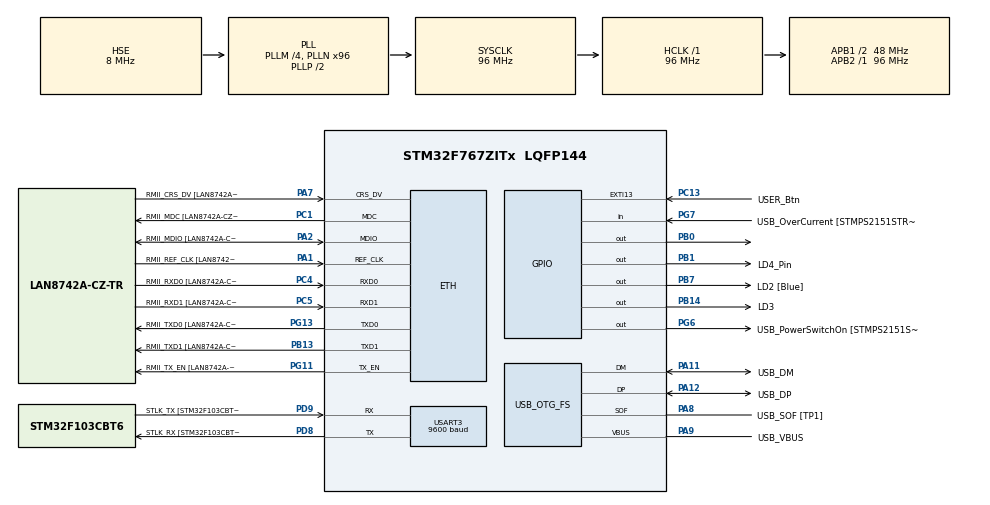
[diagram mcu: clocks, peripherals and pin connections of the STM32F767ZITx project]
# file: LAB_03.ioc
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ETH.MediaInterface=HAL_ETH_RMII_MODE
ETH.PHY_Name=LAN8742A_PHY_ADDRESS
ETH.PHY_Value=0
ETH.PhyAddress=0
Mcu.Family=STM32F7
Mcu.Name=STM32F767ZITx
Mcu.Package=LQFP144
NVIC.EXTI15_10_IRQn=true\:0\:0\:false\:false\:true\:true\:true\:true
NVIC.PriorityGroup=NVIC_PRIORITYGROUP_4
NVIC.TIM2_IRQn=true\:0\:0\:false\:false\:true\:true\:true\:true
NVIC.TIM3_IRQn=true\:0\:0\:false\:false\:true\:true\:true\:true
NVIC.USART3_IRQn=true\:0\:0\:false\:false\:true\:true\:true\:true
PA1.GPIO_Label=RMII_REF_CLK [LAN8742A-CZ-TR_REFCLK0]
PA1.Mode=RMII
PA1.Signal=ETH_REF_CLK
PA10.GPIO_Label=USB_ID
PA10.Signal=USB_OTG_FS_ID
PA11.GPIO_Label=USB_DM
PA11.Mode=Device_Only
PA11.Signal=USB_OTG_FS_DM
PA12.GPIO_Label=USB_DP
PA12.Mode=Device_Only
PA12.Signal=USB_OTG_FS_DP
PA13.GPIO_Label=TMS
PA13.Mode=Serial_Wire
PA13.Signal=SYS_JTMS-SWDIO
PA14.GPIO_Label=TCK
PA14.Mode=Serial_Wire
PA14.Signal=SYS_JTCK-SWCLK
PA2.GPIO_Label=RMII_MDIO [LAN8742A-CZ-TR_MDIO]
PA2.Mode=RMII
PA2.Signal=ETH_MDIO
PA7.GPIO_Label=RMII_CRS_DV [LAN8742A-CZ-TR_CRS_DV]
PA7.Mode=RMII
PA7.Signal=ETH_CRS_DV
PA8.GPIO_Label=USB_SOF [TP1]
PA8.Mode=Activate_SOF_FS
PA8.Signal=USB_OTG_FS_SOF
PA9.GPIO_Label=USB_VBUS
PA9.Mode=Activate_VBUS
PA9.Signal=USB_OTG_FS_VBUS
PB0.Signal=GPIO_Output
PB1.GPIO_Label=LD4_Pin
PB1.Signal=GPIO_Output
PB13.GPIO_Label=RMII_TXD1 [LAN8742A-CZ-TR_TXD1]
PB13.Mode=RMII
PB13.Signal=ETH_TXD1
PB14.GPIO_Label=LD3
PB14.Signal=GPIO_Output
PB3.GPIO_Label=SWO
PB3.Signal=SYS_JTDO-SWO
PB7.GPIO_Label=LD2 [Blue]
PB7.Signal=GPIO_Output
PC1.GPIO_Label=RMII_MDC [LAN8742A-CZ-TR_MDC]
PC1.Mode=RMII
PC1.Signal=ETH_MDC
PC13.GPIO_Label=USER_Btn
PC13.Signal=GPXTI13
PC14/OSC32_IN.Mode=LSE-External-Oscillator
PC14/OSC32_IN.Signal=RCC_OSC32_IN
PC15/OSC32_OUT.Mode=LSE-External-Oscillator
PC15/OSC32_OUT.Signal=RCC_OSC32_OUT
PC4.GPIO_Label=RMII_RXD0 [LAN8742A-CZ-TR_RXD0]
PC4.Mode=RMII
PC4.Signal=ETH_RXD0
PC5.GPIO_Label=RMII_RXD1 [LAN8742A-CZ-TR_RXD1]
PC5.Mode=RMII
PC5.Signal=ETH_RXD1
PD8.GPIO_Label=STLK_RX [STM32F103CBT6_PA3]
PD8.Mode=Asynchronous
PD8.Signal=USART3_TX
PD9.GPIO_Label=STLK_TX [STM32F103CBT6_PA2]
PD9.Mode=Asynchronous
PD9.Signal=USART3_RX
PG11.GPIO_Label=RMII_TX_EN [LAN8742A-CZ-TR_TXEN]
PG11.Mode=RMII
PG11.Signal=ETH_TX_EN
PG13.GPIO_Label=RMII_TXD0 [LAN8742A-CZ-TR_TXD0]
PG13.Mode=RMII
PG13.Signal=ETH_TXD0
PG6.GPIO_Label=USB_PowerSwitchOn [STMPS2151STR_EN]
PG6.Signal=GPIO_Output
PG7.GPIO_Label=USB_OverCurrent [STMPS2151STR_FAULT]
PG7.Signal=GPIO_Input
PH0/OSC_IN.GPIO_Label=MCO [STM32F103CBT6_PA8]
PH0/OSC_IN.Mode=HSE-External-Clock-Source
PH0/OSC_IN.Signal=RCC_OSC_IN
PH1/OSC_OUT.Mode=HSE-External-Clock-Source
PH1/OSC_OUT.Signal=RCC_OSC_OUT
ProjectManager.HeapSize=0x200
ProjectManager.StackSize=0x400
ProjectManager.TargetToolchain=STM32CubeIDE
RCC.48MHZClocksFreq_Value=24000000
RCC.AHBFreq_Value=96000000
RCC.APB1CLKDivider=RCC_HCLK_DIV2
RCC.APB1Freq_Value=48000000
RCC.APB1TimFreq_Value=96000000
RCC.APB2Freq_Value=96000000
RCC.APB2TimFreq_Value=96000000
RCC.CortexFreq_Value=96000000
RCC.HCLKFreq_Value=96000000
RCC.HSE_VALUE=8000000
RCC.HSI_VALUE=16000000
RCC.PLLM=4
RCC.PLLMUL=RCC_PLL_MUL9
RCC.PLLN=96
RCC.PLLQ=4
RCC.PRESCALERUSB=RCC_USBCLKSOURCE_PLL_DIV1_5
RCC.SYSCLKFreq_VALUE=96000000
RCC.SYSCLKSource=RCC_SYSCLKSOURCE_PLLCLK
RCC.SYSCLKSourceVirtual=RCC_SYSCLKSOURCE_PLLCLK
RCC.USBFreq_Value=48000000
RCC.VCOOutputFreq_Value=192000000
TIM2.Period=999
TIM2.Prescaler=95
TIM3.Period=1999
TIM3.Prescaler=9599
USART3.BaudRate=9600
USART3.VirtualMode-Asynchronous=VM_ASYNC
USB_OTG_FS.VirtualMode=Device_Only
VP_TIM2_VS_ClockSourceINT.Mode=Internal
VP_TIM3_VS_ClockSourceINT.Mode=Internal
board=NUCLEO-F767ZI

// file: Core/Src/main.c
/* USER CODE BEGIN Header */
/**
 ******************************************************************************
 * @file           : main.c
 * @brief          : Main program body
 ******************************************************************************
 * @attention
 *
 * Copyright (c) 2025 STMicroelectronics.
 * All rights reserved.
 *
 * This software is licensed under terms that can be found in the LICENSE file
 * in the root directory of this software component.
 * If no LICENSE file comes with this software, it is provided AS-IS.
 *
 ******************************************************************************
 */
/* USER CODE END Header */
#include "main.h"
#include "string.h"

/* USER CODE BEGIN Includes */

#include <stdio.h>

/* USER CODE END Includes */

#if defined ( __ICCARM__ ) /*!< IAR Compiler */
#pragma location=0x2007c000
ETH_DMADescTypeDef  DMARxDscrTab[ETH_RX_DESC_CNT]; /* Ethernet Rx DMA Descriptors */
#pragma location=0x2007c0a0
ETH_DMADescTypeDef  DMATxDscrTab[ETH_TX_DESC_CNT]; /* Ethernet Tx DMA Descriptors */

#elif defined ( __CC_ARM )  /* MDK ARM Compiler */

__attribute__((at(0x2007c000))) ETH_DMADescTypeDef  DMARxDscrTab[ETH_RX_DESC_CNT]; /* Ethernet Rx DMA Descriptors */
__attribute__((at(0x2007c0a0))) ETH_DMADescTypeDef  DMATxDscrTab[ETH_TX_DESC_CNT]; /* Ethernet Tx DMA Descriptors */

#elif defined ( __GNUC__ ) /* GNU Compiler */

ETH_DMADescTypeDef DMARxDscrTab[ETH_RX_DESC_CNT] __attribute__((section(".RxDecripSection"))); /* Ethernet Rx DMA Descriptors */
ETH_DMADescTypeDef DMATxDscrTab[ETH_TX_DESC_CNT] __attribute__((section(".TxDecripSection"))); /* Ethernet Tx DMA Descriptors */
#endif

ETH_TxPacketConfig TxConfig;

ETH_HandleTypeDef heth;

TIM_HandleTypeDef htim2;
TIM_HandleTypeDef htim3;

UART_HandleTypeDef huart3;

PCD_HandleTypeDef hpcd_USB_OTG_FS;

void SystemClock_Config(void);
static void MX_GPIO_Init(void);
static void MX_ETH_Init(void);
static void MX_USART3_UART_Init(void);
static void MX_USB_OTG_FS_PCD_Init(void);
static void MX_TIM3_Init(void);
static void MX_TIM2_Init(void);
/* USER CODE BEGIN PFP */
//void SetPWM(TIM_HandleTypeDef *htim, uint32_t channel, float duty);
/* USER CODE END PFP */

/* USER CODE BEGIN 0 */

uint32_t last_button_time = 0;
const uint32_t DEBOUNCE_TIME_MS = 200;

_Bool pulse_active = 0;

GPIO_PinState LD1_State;

uint32_t current_period_ms = 400;
uint32_t current_period_us;

uint32_t pulse_duration_ms = 200;
uint32_t pulse_arr_value;

void HAL_GPIO_EXTI_Callback(uint16_t GPIO_Pin) {
	if (GPIO_Pin == USER_Btn_Pin) {
		uint32_t now = HAL_GetTick();
		if (now - last_button_time < DEBOUNCE_TIME_MS)
			return;
		last_button_time = now;

		HAL_TIM_Base_Stop_IT(&htim2);

		__HAL_TIM_SET_COUNTER(&htim2, 0);
		__HAL_TIM_SET_AUTORELOAD(&htim2, current_period_us - 1);

		HAL_TIM_Base_Start_IT(&htim2);
	}
}

void HAL_TIM_PeriodElapsedCallback(TIM_HandleTypeDef *htim) {
	if (htim->Instance == TIM2) {
		HAL_TIM_Base_Stop_IT(&htim2);

		HAL_GPIO_WritePin(GPIOB, LD2_Pin, GPIO_PIN_SET);
		pulse_active = 1;

		__HAL_TIM_SET_COUNTER(&htim3, 0);
		__HAL_TIM_SET_AUTORELOAD(&htim3, pulse_arr_value);
		HAL_TIM_Base_Start_IT(&htim3);
	}

	if (htim->Instance == TIM3 && pulse_active) {
		HAL_TIM_Base_Stop_IT(&htim3);
		HAL_GPIO_WritePin(GPIOB, LD2_Pin, GPIO_PIN_RESET);
		pulse_active = 0;
	}
}

uint8_t rxBuffer[50];
char txBuffer[50];

const uint32_t MIN_PERIOD_US = 200000;      // 200 ms
const uint32_t MAX_PERIOD_US = 2000000;     // 2 s
const uint32_t STEP_PERIOD_US = 200000;     // 0,2 s

void HAL_UART_RxCpltCallback(UART_HandleTypeDef *huart) {
	if (huart->Instance == USART3) {
		if (rxBuffer[0] == '+') {
			if (current_period_us + STEP_PERIOD_US <= MAX_PERIOD_US)
				current_period_us += STEP_PERIOD_US;
		} else if (rxBuffer[0] == '-') {
			if (current_period_us >= MIN_PERIOD_US + STEP_PERIOD_US)
				current_period_us -= STEP_PERIOD_US;
		}

		uint32_t period_ms = current_period_us / 1000;
		GPIO_PinState led_state = HAL_GPIO_ReadPin(GPIOB, LD2_Pin);

		sprintf(txBuffer, "Okres: %lu ms\r\n", period_ms);

		HAL_UART_Transmit(&huart3, (uint8_t*) txBuffer, strlen(txBuffer), HAL_MAX_DELAY);
		HAL_UART_Receive_IT(&huart3, rxBuffer, 1);
	}
}

void zad1() {
	if (__HAL_TIM_GET_FLAG(&htim2, TIM_FLAG_UPDATE) != RESET) {
		__HAL_TIM_CLEAR_FLAG(&htim2, TIM_FLAG_UPDATE);

		LD1_State = !LD1_State;
		HAL_GPIO_TogglePin(GPIOB, LD2_Pin);
	}
}

/* USER CODE END 0 */

int main(void) {

	/* USER CODE BEGIN 1 */

	current_period_us = current_period_ms * 1000;
	pulse_arr_value = (pulse_duration_ms * 10) - 1;

	/* USER CODE END 1 */

	/* MCU Configuration--------------------------------------------------------*/

	/* Reset of all peripherals, Initializes the Flash interface and the Systick. */
	HAL_Init();

	/* Configure the system clock */
	SystemClock_Config();

	/* Initialize all configured peripherals */
	MX_GPIO_Init();
	MX_ETH_Init();
	MX_USART3_UART_Init();
	MX_USB_OTG_FS_PCD_Init();
	MX_TIM3_Init();
	MX_TIM2_Init();
	/* USER CODE BEGIN 2 */

//	HAL_TIM_Base_Start(&htim2); // zad1
	HAL_TIM_Base_Start_IT(&htim2);
//	HAL_TIM_Base_Start_IT(&htim3);
	HAL_UART_Receive_IT(&huart3, rxBuffer, 1);

	/* USER CODE END 2 */

	/* Infinite loop */
	/* USER CODE BEGIN WHILE */
	while (1) {

//		zad1();

		/* USER CODE END WHILE */

		/* USER CODE BEGIN 3 */
//		HAL_Delay(10);
	}
	/* USER CODE END 3 */
}

void SystemClock_Config(void) {
	RCC_OscInitTypeDef RCC_OscInitStruct = { 0 };
	RCC_ClkInitTypeDef RCC_ClkInitStruct = { 0 };

	/** Configure LSE Drive Capability
	 */
	HAL_PWR_EnableBkUpAccess();

	/** Configure the main internal regulator output voltage
	 */
	__HAL_RCC_PWR_CLK_ENABLE();
	__HAL_PWR_VOLTAGESCALING_CONFIG(PWR_REGULATOR_VOLTAGE_SCALE3);

	/** Initializes the RCC Oscillators according to the specified parameters
	 * in the RCC_OscInitTypeDef structure.
	 */
	RCC_OscInitStruct.OscillatorType = RCC_OSCILLATORTYPE_HSE;
	RCC_OscInitStruct.HSEState = RCC_HSE_BYPASS;
	RCC_OscInitStruct.PLL.PLLState = RCC_PLL_ON;
	RCC_OscInitStruct.PLL.PLLSource = RCC_PLLSOURCE_HSE;
	RCC_OscInitStruct.PLL.PLLM = 4;
	RCC_OscInitStruct.PLL.PLLN = 96;
	RCC_OscInitStruct.PLL.PLLP = RCC_PLLP_DIV2;
	RCC_OscInitStruct.PLL.PLLQ = 4;
	RCC_OscInitStruct.PLL.PLLR = 2;
	if (HAL_RCC_OscConfig(&RCC_OscInitStruct) != HAL_OK) {
		Error_Handler();
	}

	/** Activate the Over-Drive mode
	 */
	if (HAL_PWREx_EnableOverDrive() != HAL_OK) {
		Error_Handler();
	}

	/** Initializes the CPU, AHB and APB buses clocks
	 */
	RCC_ClkInitStruct.ClockType = RCC_CLOCKTYPE_HCLK | RCC_CLOCKTYPE_SYSCLK | RCC_CLOCKTYPE_PCLK1 | RCC_CLOCKTYPE_PCLK2;
	RCC_ClkInitStruct.SYSCLKSource = RCC_SYSCLKSOURCE_PLLCLK;
	RCC_ClkInitStruct.AHBCLKDivider = RCC_SYSCLK_DIV1;
	RCC_ClkInitStruct.APB1CLKDivider = RCC_HCLK_DIV2;
	RCC_ClkInitStruct.APB2CLKDivider = RCC_HCLK_DIV1;

	if (HAL_RCC_ClockConfig(&RCC_ClkInitStruct, FLASH_LATENCY_3) != HAL_OK) {
		Error_Handler();
	}
}

static void MX_ETH_Init(void) {

	static uint8_t MACAddr[6];

	heth.Instance = ETH;
	MACAddr[0] = 0x00;
	MACAddr[1] = 0x80;
	MACAddr[2] = 0xE1;
	MACAddr[3] = 0x00;
	MACAddr[4] = 0x00;
	MACAddr[5] = 0x00;
	heth.Init.MACAddr = &MACAddr[0];
	heth.Init.MediaInterface = HAL_ETH_RMII_MODE;
	heth.Init.TxDesc = DMATxDscrTab;
	heth.Init.RxDesc = DMARxDscrTab;
	heth.Init.RxBuffLen = 1524;

	if (HAL_ETH_Init(&heth) != HAL_OK) {
		Error_Handler();
	}

	memset(&TxConfig, 0, sizeof(ETH_TxPacketConfig));
	TxConfig.Attributes = ETH_TX_PACKETS_FEATURES_CSUM | ETH_TX_PACKETS_FEATURES_CRCPAD;
	TxConfig.ChecksumCtrl = ETH_CHECKSUM_IPHDR_PAYLOAD_INSERT_PHDR_CALC;
	TxConfig.CRCPadCtrl = ETH_CRC_PAD_INSERT;

}

static void MX_TIM2_Init(void) {

	TIM_ClockConfigTypeDef sClockSourceConfig = { 0 };
	TIM_MasterConfigTypeDef sMasterConfig = { 0 };

	htim2.Instance = TIM2;
	htim2.Init.Prescaler = 95;
	htim2.Init.CounterMode = TIM_COUNTERMODE_UP;
	htim2.Init.Period = 999;
	htim2.Init.ClockDivision = TIM_CLOCKDIVISION_DIV1;
	htim2.Init.AutoReloadPreload = TIM_AUTORELOAD_PRELOAD_DISABLE;
	if (HAL_TIM_Base_Init(&htim2) != HAL_OK) {
		Error_Handler();
	}
	sClockSourceConfig.ClockSource = TIM_CLOCKSOURCE_INTERNAL;
	if (HAL_TIM_ConfigClockSource(&htim2, &sClockSourceConfig) != HAL_OK) {
		Error_Handler();
	}
	sMasterConfig.MasterOutputTrigger = TIM_TRGO_RESET;
	sMasterConfig.MasterSlaveMode = TIM_MASTERSLAVEMODE_DISABLE;
	if (HAL_TIMEx_MasterConfigSynchronization(&htim2, &sMasterConfig) != HAL_OK) {
		Error_Handler();
	}

}

static void MX_TIM3_Init(void) {

	TIM_ClockConfigTypeDef sClockSourceConfig = { 0 };
	TIM_MasterConfigTypeDef sMasterConfig = { 0 };

	htim3.Instance = TIM3;
	htim3.Init.Prescaler = 9599;
	htim3.Init.CounterMode = TIM_COUNTERMODE_UP;
	htim3.Init.Period = 1999;
	htim3.Init.ClockDivision = TIM_CLOCKDIVISION_DIV1;
	htim3.Init.AutoReloadPreload = TIM_AUTORELOAD_PRELOAD_DISABLE;
	if (HAL_TIM_Base_Init(&htim3) != HAL_OK) {
		Error_Handler();
	}
	sClockSourceConfig.ClockSource = TIM_CLOCKSOURCE_INTERNAL;
	if (HAL_TIM_ConfigClockSource(&htim3, &sClockSourceConfig) != HAL_OK) {
		Error_Handler();
	}
	sMasterConfig.MasterOutputTrigger = TIM_TRGO_RESET;
	sMasterConfig.MasterSlaveMode = TIM_MASTERSLAVEMODE_DISABLE;
	if (HAL_TIMEx_MasterConfigSynchronization(&htim3, &sMasterConfig) != HAL_OK) {
		Error_Handler();
	}

}

static void MX_USART3_UART_Init(void) {

	huart3.Instance = USART3;
	huart3.Init.BaudRate = 9600;
	huart3.Init.WordLength = UART_WORDLENGTH_8B;
	huart3.Init.StopBits = UART_STOPBITS_1;
	huart3.Init.Parity = UART_PARITY_NONE;
	huart3.Init.Mode = UART_MODE_TX_RX;
	huart3.Init.HwFlowCtl = UART_HWCONTROL_NONE;
	huart3.Init.OverSampling = UART_OVERSAMPLING_16;
	huart3.Init.OneBitSampling = UART_ONE_BIT_SAMPLE_DISABLE;
	huart3.AdvancedInit.AdvFeatureInit = UART_ADVFEATURE_NO_INIT;
	if (HAL_UART_Init(&huart3) != HAL_OK) {
		Error_Handler();
	}

}

static void MX_USB_OTG_FS_PCD_Init(void) {

	hpcd_USB_OTG_FS.Instance = USB_OTG_FS;
	hpcd_USB_OTG_FS.Init.dev_endpoints = 6;
	hpcd_USB_OTG_FS.Init.speed = PCD_SPEED_FULL;
	hpcd_USB_OTG_FS.Init.dma_enable = DISABLE;
	hpcd_USB_OTG_FS.Init.phy_itface = PCD_PHY_EMBEDDED;
	hpcd_USB_OTG_FS.Init.Sof_enable = ENABLE;
	hpcd_USB_OTG_FS.Init.low_power_enable = DISABLE;
	hpcd_USB_OTG_FS.Init.lpm_enable = DISABLE;
	hpcd_USB_OTG_FS.Init.vbus_sensing_enable = ENABLE;
	hpcd_USB_OTG_FS.Init.use_dedicated_ep1 = DISABLE;
	if (HAL_PCD_Init(&hpcd_USB_OTG_FS) != HAL_OK) {
		Error_Handler();
	}

}

static void MX_GPIO_Init(void) {
	GPIO_InitTypeDef GPIO_InitStruct = { 0 };

	/* GPIO Ports Clock Enable */
	__HAL_RCC_GPIOC_CLK_ENABLE();
	__HAL_RCC_GPIOH_CLK_ENABLE();
	__HAL_RCC_GPIOA_CLK_ENABLE();
	__HAL_RCC_GPIOB_CLK_ENABLE();
	__HAL_RCC_GPIOD_CLK_ENABLE();
	__HAL_RCC_GPIOG_CLK_ENABLE();

	/*Configure GPIO pin Output Level */
	HAL_GPIO_WritePin(GPIOB, GPIO_PIN_0 | LD4_Pin_Pin | LD3_Pin | LD2_Pin, GPIO_PIN_RESET);

	/*Configure GPIO pin Output Level */
	HAL_GPIO_WritePin(USB_PowerSwitchOn_GPIO_Port, USB_PowerSwitchOn_Pin, GPIO_PIN_RESET);

	/*Configure GPIO pin : USER_Btn_Pin */
	GPIO_InitStruct.Pin = USER_Btn_Pin;
	GPIO_InitStruct.Mode = GPIO_MODE_IT_RISING;
	GPIO_InitStruct.Pull = GPIO_NOPULL;
	HAL_GPIO_Init(USER_Btn_GPIO_Port, &GPIO_InitStruct);

	/*Configure GPIO pins : PB0 LD4_Pin_Pin LD3_Pin LD2_Pin */
	GPIO_InitStruct.Pin = GPIO_PIN_0 | LD4_Pin_Pin | LD3_Pin | LD2_Pin;
	GPIO_InitStruct.Mode = GPIO_MODE_OUTPUT_PP;
	GPIO_InitStruct.Pull = GPIO_NOPULL;
	GPIO_InitStruct.Speed = GPIO_SPEED_FREQ_LOW;
	HAL_GPIO_Init(GPIOB, &GPIO_InitStruct);

	/*Configure GPIO pin : USB_PowerSwitchOn_Pin */
	GPIO_InitStruct.Pin = USB_PowerSwitchOn_Pin;
	GPIO_InitStruct.Mode = GPIO_MODE_OUTPUT_PP;
	GPIO_InitStruct.Pull = GPIO_NOPULL;
	GPIO_InitStruct.Speed = GPIO_SPEED_FREQ_LOW;
	HAL_GPIO_Init(USB_PowerSwitchOn_GPIO_Port, &GPIO_InitStruct);

	/*Configure GPIO pin : USB_OverCurrent_Pin */
	GPIO_InitStruct.Pin = USB_OverCurrent_Pin;
	GPIO_InitStruct.Mode = GPIO_MODE_INPUT;
	GPIO_InitStruct.Pull = GPIO_NOPULL;
	HAL_GPIO_Init(USB_OverCurrent_GPIO_Port, &GPIO_InitStruct);

	/* EXTI interrupt init*/
	HAL_NVIC_SetPriority(EXTI15_10_IRQn, 0, 0);
	HAL_NVIC_EnableIRQ(EXTI15_10_IRQn);

}

void Error_Handler(void) {
	__disable_irq();
	while (1) {
	}
}
